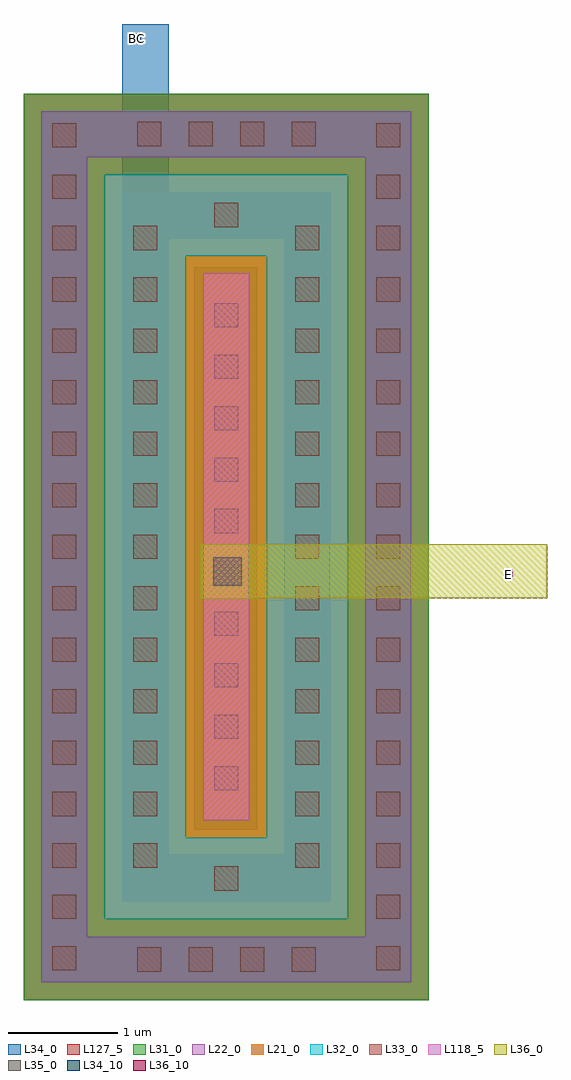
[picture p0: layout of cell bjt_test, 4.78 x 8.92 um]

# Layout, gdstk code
import gdstk
lib = gdstk.Library(unit=1e-6, precision=5e-09)
def R(c, l, rs):  # rectangles x0, y0, x1, y1
    for r in rs: c.add(gdstk.rectangle(r[:2], r[2:], *l))
def A(c, l, x, y, w, h, nx, ny, dx, dy):  # array of equal rectangles
    R(c, l, [(x+i*dx, y+j*dy, x+i*dx+w, y+j*dy+h) for i in range(nx) for j in range(ny)])
def P(c, l, *ps):  # polygons
    for p in ps: c.add(gdstk.Polygon(p, *l))
L21_0 = (21, 0)
L22_0 = (22, 0)
L31_0 = (31, 0)
L32_0 = (32, 0)
L33_0 = (33, 0)
L34_0 = (34, 0)
L34_10 = (34, 10)
L35_0 = (35, 0)
L36_0 = (36, 0)
L36_10 = (36, 10)
L118_5 = (118, 5)
L127_5 = (127, 5)

pnp_05p00x00p42_0 = lib.new_cell('pnp_05p00x00p42_0')
R(pnp_05p00x00p42_0, L21_0, [(-1.11,-3.4,1.11,3.4)])
R(pnp_05p00x00p42_0, L22_0, [(-0.21,-2.5,0.21,2.5)])
P(pnp_05p00x00p42_0, L22_0, [(-0.95,-3.24),(-0.95,3.24),(0.53,3.24),(0.53,2.82),(-0.53,2.82),(-0.53,-2.82),(0.53,-2.82),(0.53,3.24),(0.95,3.24),(0.95,-3.24)],
  [(-1.69,-3.98),(-1.69,3.98),(1.27,3.98),(1.27,3.56),(-1.27,3.56),(-1.27,-3.56),(1.27,-3.56),(1.27,3.98),(1.69,3.98),(1.69,-3.98)])
R(pnp_05p00x00p42_0, L31_0, [(-0.37,-2.66,0.37,2.66)])
P(pnp_05p00x00p42_0, L31_0, [(-1.85,-4.14),(-1.85,4.14),(1.11,4.14),(1.11,3.4),(-1.11,3.4),(-1.11,-3.4),(1.11,-3.4),(1.11,4.14),(1.85,4.14),(1.85,-4.14)])
P(pnp_05p00x00p42_0, L32_0, [(-1.11,-3.4),(-1.11,3.4),(0.37,3.4),(0.37,2.66),(-0.37,2.66),(-0.37,-2.66),(0.37,-2.66),(0.37,3.4),(1.11,3.4),(1.11,-3.4)])
A(pnp_05p00x00p42_0, L33_0, -0.815, -3.88, 0.22, 0.22, 4, 2, 0.47, 7.54)
A(pnp_05p00x00p42_0, L33_0, -1.59, -3.87, 0.22, 0.22, 1, 17, 0, 0.47)
A(pnp_05p00x00p42_0, L33_0, 1.37, -3.87, 0.22, 0.22, 1, 17, 0, 0.47)
A(pnp_05p00x00p42_0, L33_0, -0.85, -2.93, 0.22, 0.22, 1, 13, 0, 0.47)
A(pnp_05p00x00p42_0, L33_0, 0.63, -2.93, 0.22, 0.22, 1, 13, 0, 0.47)
A(pnp_05p00x00p42_0, L33_0, -0.11, -2.225, 0.22, 0.22, 1, 10, 0, 0.47)
R(pnp_05p00x00p42_0, L33_0, [(-0.11,-3.14,0.11,-2.92), (-0.11,2.92,0.11,3.14)])
R(pnp_05p00x00p42_0, L34_0, [(-1.69,-3.98,1.69,-3.56), (-1.69,-3.98,-1.27,3.98), (1.27,-3.98,1.69,3.98), (-0.95,-3.24,-0.53,3.24), (-0.95,-3.24,0.95,-2.815), (0.53,-3.24,0.95,3.24), (-0.21,-2.5,0.21,2.5), (-0.21,-2.5,0.21,2.5), (-0.95,2.82,0.95,3.24), (-1.69,3.56,1.69,3.98)])
P(pnp_05p00x00p42_0, L34_0, [(-0.95,-3.24),(-0.95,3.24),(0.53,3.24),(0.53,2.82),(-0.53,2.82),(-0.53,-2.82),(0.53,-2.82),(0.53,3.24),(0.95,3.24),(0.95,-3.24)],
  [(-1.69,-3.98),(-1.69,3.98),(1.27,3.98),(1.27,3.56),(-1.27,3.56),(-1.27,-3.56),(1.27,-3.56),(1.27,3.98),(1.69,3.98),(1.69,-3.98)])
R(pnp_05p00x00p42_0, L118_5, [(-0.21,-2.5,0.21,2.5)])
R(pnp_05p00x00p42_0, L127_5, [(-1.85,-4.14,1.85,4.14)])
pnp_05p00x00p42_0.add(gdstk.Label('B', (-0.75,0.015), layer=34, texttype=0))
pnp_05p00x00p42_0.add(gdstk.Label('E', (0,-0.005), layer=34, texttype=0))
pnp_05p00x00p42_0.add(gdstk.Label('B', (0.01,3.015), layer=34, texttype=0))
pnp_05p00x00p42_0.add(gdstk.Label('B', (0.75,0.025), layer=34, texttype=0))
pnp_05p00x00p42_0.add(gdstk.Label('B', (0.005,-3.015), layer=34, texttype=0))
pnp_05p00x00p42_0.add(gdstk.Label('C', (0.015,3.765), layer=34, texttype=0))
pnp_05p00x00p42_0.add(gdstk.Label('C', (1.5,0.005), layer=34, texttype=0))
pnp_05p00x00p42_0.add(gdstk.Label('C', (-0.01,-3.78), layer=34, texttype=0))
pnp_05p00x00p42_0.add(gdstk.Label('C', (-1.495,-0.01), layer=34, texttype=0))

pnp_05p00x00p42 = lib.new_cell('pnp_05p00x00p42')
pnp_05p00x00p42.add(gdstk.Reference(pnp_05p00x00p42_0, (2,4.2)))
pnp_05p00x00p42.add(gdstk.Label('I1_default_E', (1.815,1.725), layer=34, texttype=10))
pnp_05p00x00p42.add(gdstk.Label('I1_default_C', (0.335,0.245), layer=34, texttype=10))
pnp_05p00x00p42.add(gdstk.Label('I1_default_C', (0.335,0.245), layer=34, texttype=10))
pnp_05p00x00p42.add(gdstk.Label('I1_default_C', (3.295,0.245), layer=34, texttype=10))
pnp_05p00x00p42.add(gdstk.Label('I1_default_C', (0.335,7.785), layer=34, texttype=10))
pnp_05p00x00p42.add(gdstk.Label('I1_default_B', (1.075,0.985), layer=34, texttype=10))
pnp_05p00x00p42.add(gdstk.Label('I1_default_B', (1.075,0.985), layer=34, texttype=10))
pnp_05p00x00p42.add(gdstk.Label('I1_default_B', (2.555,0.985), layer=34, texttype=10))
pnp_05p00x00p42.add(gdstk.Label('I1_default_B', (1.075,7.045), layer=34, texttype=10))

pnp_bjt_1 = lib.new_cell('pnp_bjt$1')
pnp_bjt_1.add(gdstk.Reference(pnp_05p00x00p42, (0,0)))

via_dev = lib.new_cell('via_dev')
R(via_dev, L34_0, [(0,0,0.5,0.5)])
R(via_dev, L35_0, [(0.12,0.12,0.38,0.38)])
R(via_dev, L36_0, [(0,0,0.5,0.5)])

bjt_test = lib.new_cell('bjt_test')
R(bjt_test, L34_0, [(0.785,0.885,1.36,6.025), (0.13,6.275,0.555,8.245)])
R(bjt_test, L34_10, [(0.225,8.085,0.3,8.155)])
R(bjt_test, L36_0, [(0.84,3,4.01,3.495)])
R(bjt_test, L36_10, [(3.63,3.195,3.695,3.26)])
bjt_test.add(gdstk.Reference(pnp_bjt_1, (-0.92,-0.73)))
bjt_test.add(gdstk.Reference(via_dev, (0.84,2.995)))
bjt_test.add(gdstk.Label('BC', (0.26,8.115), layer=34, texttype=10))
bjt_test.add(gdstk.Label('E', (3.66,3.22), layer=36, texttype=10))

lib.write_gds('bjt_test.gds')
